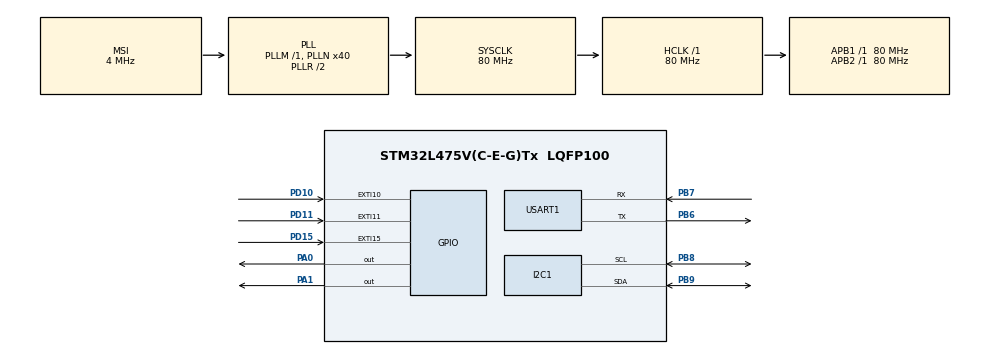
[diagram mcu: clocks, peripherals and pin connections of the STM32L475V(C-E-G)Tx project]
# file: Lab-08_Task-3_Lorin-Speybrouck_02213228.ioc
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I2C1.Timing=0x10909CEC
Mcu.Family=STM32L4
Mcu.Name=STM32L475V(C-E-G)Tx
Mcu.Package=LQFP100
NVIC.PriorityGroup=NVIC_PRIORITYGROUP_4
PA0.Signal=GPIO_Output
PA1.Signal=GPIO_Output
PB6.Mode=Asynchronous
PB6.Signal=USART1_TX
PB7.Mode=Asynchronous
PB7.Signal=USART1_RX
PB8.Mode=I2C
PB8.Signal=I2C1_SCL
PB9.Mode=I2C
PB9.Signal=I2C1_SDA
PD10.Signal=GPXTI10
PD11.Signal=GPXTI11
PD15.Signal=GPXTI15
ProjectManager.HeapSize=0x200
ProjectManager.StackSize=0x400
ProjectManager.TargetToolchain=STM32CubeIDE
RCC.ADCFreq_Value=48000000
RCC.AHBFreq_Value=80000000
RCC.APB1Freq_Value=80000000
RCC.APB1TimFreq_Value=80000000
RCC.APB2Freq_Value=80000000
RCC.APB2TimFreq_Value=80000000
RCC.CortexFreq_Value=80000000
RCC.HCLKFreq_Value=80000000
RCC.HSE_VALUE=8000000
RCC.HSI_VALUE=16000000
RCC.LSE_VALUE=32768
RCC.MSI_VALUE=4000000
RCC.PLLN=40
RCC.PLLSAI1N=24
RCC.SYSCLKFreq_VALUE=80000000
RCC.SYSCLKSource=RCC_SYSCLKSOURCE_PLLCLK
RCC.USBFreq_Value=48000000
RCC.VCOOutputFreq_Value=160000000
USART1.VirtualMode-Asynchronous=VM_ASYNC
board=B-L475E-IOT01A2

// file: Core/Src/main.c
/* USER CODE BEGIN Header */
/**
 ******************************************************************************
 * @file           : main.c
 * @brief          : Main program body
 ******************************************************************************
 * @attention
 *
 * Copyright (c) 2024 STMicroelectronics.
 * All rights reserved.
 *
 * This software is licensed under terms that can be found in the LICENSE file
 * in the root directory of this software component.
 * If no LICENSE file comes with this software, it is provided AS-IS.
 *
 ******************************************************************************
 */
/* USER CODE END Header */
#include "main.h"

/* USER CODE BEGIN Includes */
#include "stdio.h"
#include <math.h>
#include "stm32l475e_iot01.h"
#include "stm32l475e_iot01_tsensor.h"
#include "stm32l475e_iot01_hsensor.h"
#include "stm32l475e_iot01_psensor.h"
#include "stm32l475e_iot01_accelero.h"
/* USER CODE END Includes */

I2C_HandleTypeDef hi2c1;

UART_HandleTypeDef huart1;

void SystemClock_Config(void);
static void MX_GPIO_Init(void);
static void MX_I2C1_Init(void);
static void MX_USART1_UART_Init(void);

/* USER CODE BEGIN 0 */

//-----------------------------------------------------------------------------
// Low-level software I2C communication to PCB unit on serial LCD display
// pvantorre FEB 2021
//
// Connect Open Smart Rich Shield UART pins top right to LCD unit
// GND----GND
// VCC----VCC
//  TX----SCL (can be remembered as TX is always an output and SCL is always an input)
//  RX----SDA
//-----------------------------------------------------------------------------
//
void LCD_Delay(int time); //just a predeclaration

void PCF_SCL(uint8_t level) {
	HAL_GPIO_WritePin(GPIOA, GPIO_PIN_0, level); //TX = SCL
	//HAL_Delay(1);
	LCD_Delay(10);
}

void PCF_SDA(uint8_t level) {
	HAL_GPIO_WritePin(GPIOA, GPIO_PIN_1, level); // RX = SDA
	//HAL_Delay(1);
	LCD_Delay(10);
}

uint8_t PCF_ACK(void) {
	return (HAL_GPIO_ReadPin(GPIOA, GPIO_PIN_1));
}

void I2Cstart(void) {
	PCF_SDA(1);
	PCF_SCL(1); //I2C start condition
	PCF_SDA(0); //high to low data while clk high
	PCF_SCL(0);
}

void I2Cstop(void) {
	//PCF_SDA(0);
	PCF_SCL(1); //I2C stop condition
	PCF_SDA(1); //low to high data while clk high
}

//MSB first for PCF chip!!!
uint8_t I2Cwritebyte(uint8_t databyte) {
	uint8_t ack;
	for (uint8_t n = 0; n <= 7; n++) {
		if ((databyte & 0x80) > 0)
			PCF_SDA(1);
		else
			PCF_SDA(0);
		PCF_SCL(1);
		databyte <<= 1;
		PCF_SCL(0);
		PCF_SDA(1); //zodat ACK kan gelezen worden
	}
	PCF_SCL(1); //9th clk  ACK
	ack = PCF_ACK();
	PCF_SCL(0);
	return (ack);
}

//-----------------------------------------------------------------------------
// LCD_Init   Robust version written by P. Van Torre DEC 2014
//-----------------------------------------------------------------------------
//
// Position of parallel LCD lines in byte output by PCF chip
// from MSB to LSB
// D7 D6 D5 D4 BL E R/W RS
// BL= backlight, active high
//
// Check datasheet of HD44780 LCD controller for more info

//-----------------------------------------------------------------------------
// LCD_Delay
//-----------------------------------------------------------------------------
//
void LCD_Delay(int time) {
	int n, m;
	for (n = 0; n < time; n++) {
		for (m = 0; m < 20; m++)
			;
	}
	//HAL_Delay(time);
}

//-----------------------------------------------------------------------------
// LCD_Clock
//-----------------------------------------------------------------------------
//
void LCD_Clock(char lcddata) {
	I2Cwritebyte((lcddata & 0xf0) | ((lcddata & 0x02) >> 1) | 0x08); //4 bit data + RS line + BL
	LCD_Delay(10);
	I2Cwritebyte((lcddata & 0xf0) | ((lcddata & 0x02) >> 1) | 0x0C); //4 bit data + RS line + BL + EN
	LCD_Delay(10);
	I2Cwritebyte((lcddata & 0xf0) | ((lcddata & 0x02) >> 1) | 0x08); //4 bit data + RS line + BL
	LCD_Delay(10);

}

void LCD_Init(void) {
	//wait a while after power on
	LCD_Delay(2550);

	//go to 8-bit mode no matter what (8 -> 8 / 4 -> 8)
	LCD_Clock(0x30);
	LCD_Delay(2550);
	LCD_Clock(0x30);
	LCD_Delay(250);
	LCD_Clock(0x30);
	LCD_Delay(250);

	//now go to 4-bit mode
	LCD_Clock(0x20);
	LCD_Delay(250);

	//interface definitely in 4-bit mode now, independent of history

	//4-bit 2-line
	LCD_Clock(0x20);
	LCD_Clock(0x80);
	LCD_Delay(250);

	//no shift ; cursor right
	LCD_Clock(0x10);
	LCD_Clock(0x40);
	LCD_Delay(250);

	//display on ; cursor off ; no blinking
	LCD_Clock(0x00);
	LCD_Clock(0xC0);
	LCD_Delay(250);

	//cursor moves right ; no display shift
	LCD_Clock(0x00);
	LCD_Clock(0x60);
	LCD_Delay(250);
}

//-----------------------------------------------------------------------------
// LCD_Busy PVT2014
//-----------------------------------------------------------------------------
//
void LCD_Busy(void) {
	LCD_Delay(1);
	//original busy function can probably not be used with the LCD shield
	//due to R/W line which is always on WRITE ???

}

//-----------------------------------------------------------------------------
// LCD_Send
//-----------------------------------------------------------------------------
//
void LCD_Send(char teken) {
	LCD_Clock((teken & 0xf0) | 2);  // |2 used to set RS=1
	LCD_Clock(((teken & 0x0f) << 4) | 2);
	LCD_Busy(); //wait until LCD ready
}

//-----------------------------------------------------------------------------
// LCD_String pvantorre 2020
//-----------------------------------------------------------------------------
//
void LCD_String(char *text) {
	while (*text != 0)
		LCD_Send(*text++);
}

//-----------------------------------------------------------------------------
// LCD_Clear
//-----------------------------------------------------------------------------
//
void LCD_Clear(void) {
	LCD_Clock(0x00);
	LCD_Clock(0x10);
	LCD_Delay(255);
}

//-----------------------------------------------------------------------------
// LCD_Home
//-----------------------------------------------------------------------------
//
void LCD_Home(void) {
	LCD_Clock(0x00);
	LCD_Clock(0x20);
}

//-----------------------------------------------------------------------------
// LCD_Pos
//-----------------------------------------------------------------------------
//
void LCD_Pos(unsigned char pos) {
	LCD_Clock(0x80 | (pos & 0xf0));
	LCD_Clock(pos << 4);
	LCD_Busy();
}

/* USER CODE END 0 */

int main(void) {

	/* USER CODE BEGIN 1 */
	float getValueFromState(int state) {
		switch (state) {
		case 0:
			return BSP_TSENSOR_ReadTemp();
		case 1:
			return BSP_HSENSOR_ReadHumidity();
		case 2:
			return BSP_PSENSOR_ReadPressure();
		default:
			int16_t XYZ[3];
			BSP_ACCELERO_AccGetXYZ(XYZ);
			return (float) XYZ[state - 2];

		}
	}
	/* USER CODE END 1 */

	/* MCU Configuration--------------------------------------------------------*/

	/* Reset of all peripherals, Initializes the Flash interface and the Systick. */
	HAL_Init();

	/* Configure the system clock */
	SystemClock_Config();

	/* Initialize all configured peripherals */
	MX_GPIO_Init();
	MX_I2C1_Init();
	MX_USART1_UART_Init();
	/* USER CODE BEGIN 2 */
	BSP_TSENSOR_Init(); // HTS221
	BSP_HSENSOR_Init(); // HTS221
	BSP_PSENSOR_Init(); // LPS22HB
	BSP_ACCELERO_Init(); // LSM6DSL
	/* USER CODE END 2 */

	/* Infinite loop */
	/* USER CODE BEGIN WHILE */
	int state = 0;
	char *states[] = { "Temperature", "Humidity", "Pressure", "X", "Y", "Z" };
	while (1) {
		/* USER CODE END WHILE */

		/* USER CODE BEGIN 3 */
		float value = getValueFromState(state);

		char text[200] = "";
		sprintf(text, "State %d| %s: %f.2 \n\r", state, states[state], value);
		HAL_UART_Transmit(&huart1, (uint8_t*) text, sizeof(text), 1000);

		I2Cstart();
		I2Cwritebyte(0x27 << 1);
		LCD_Init();
		LCD_Clear();

		LCD_Pos(0);
		LCD_String(states[state]);
		LCD_Pos(40);
		char LCDText[50] = "";
		sprintf(LCDText, "%.4f", value);
		LCD_String(LCDText);
		I2Cstop();

		HAL_Delay(1000);
		state = (state + 1) % 6;
	}
	/* USER CODE END 3 */
}

void SystemClock_Config(void) {
	RCC_OscInitTypeDef RCC_OscInitStruct = { 0 };
	RCC_ClkInitTypeDef RCC_ClkInitStruct = { 0 };

	/** Configure the main internal regulator output voltage
	 */
	if (HAL_PWREx_ControlVoltageScaling(PWR_REGULATOR_VOLTAGE_SCALE1)
			!= HAL_OK) {
		Error_Handler();
	}

	/** Initializes the RCC Oscillators according to the specified parameters
	 * in the RCC_OscInitTypeDef structure.
	 */
	RCC_OscInitStruct.OscillatorType = RCC_OSCILLATORTYPE_MSI;
	RCC_OscInitStruct.MSIState = RCC_MSI_ON;
	RCC_OscInitStruct.MSICalibrationValue = 0;
	RCC_OscInitStruct.MSIClockRange = RCC_MSIRANGE_6;
	RCC_OscInitStruct.PLL.PLLState = RCC_PLL_ON;
	RCC_OscInitStruct.PLL.PLLSource = RCC_PLLSOURCE_MSI;
	RCC_OscInitStruct.PLL.PLLM = 1;
	RCC_OscInitStruct.PLL.PLLN = 40;
	RCC_OscInitStruct.PLL.PLLP = RCC_PLLP_DIV7;
	RCC_OscInitStruct.PLL.PLLQ = RCC_PLLQ_DIV2;
	RCC_OscInitStruct.PLL.PLLR = RCC_PLLR_DIV2;
	if (HAL_RCC_OscConfig(&RCC_OscInitStruct) != HAL_OK) {
		Error_Handler();
	}

	/** Initializes the CPU, AHB and APB buses clocks
	 */
	RCC_ClkInitStruct.ClockType = RCC_CLOCKTYPE_HCLK | RCC_CLOCKTYPE_SYSCLK
			| RCC_CLOCKTYPE_PCLK1 | RCC_CLOCKTYPE_PCLK2;
	RCC_ClkInitStruct.SYSCLKSource = RCC_SYSCLKSOURCE_PLLCLK;
	RCC_ClkInitStruct.AHBCLKDivider = RCC_SYSCLK_DIV1;
	RCC_ClkInitStruct.APB1CLKDivider = RCC_HCLK_DIV1;
	RCC_ClkInitStruct.APB2CLKDivider = RCC_HCLK_DIV1;

	if (HAL_RCC_ClockConfig(&RCC_ClkInitStruct, FLASH_LATENCY_4) != HAL_OK) {
		Error_Handler();
	}
}

static void MX_I2C1_Init(void) {

	hi2c1.Instance = I2C1;
	hi2c1.Init.Timing = 0x10909CEC;
	hi2c1.Init.OwnAddress1 = 0;
	hi2c1.Init.AddressingMode = I2C_ADDRESSINGMODE_7BIT;
	hi2c1.Init.DualAddressMode = I2C_DUALADDRESS_DISABLE;
	hi2c1.Init.OwnAddress2 = 0;
	hi2c1.Init.OwnAddress2Masks = I2C_OA2_NOMASK;
	hi2c1.Init.GeneralCallMode = I2C_GENERALCALL_DISABLE;
	hi2c1.Init.NoStretchMode = I2C_NOSTRETCH_DISABLE;
	if (HAL_I2C_Init(&hi2c1) != HAL_OK) {
		Error_Handler();
	}

	/** Configure Analogue filter
	 */
	if (HAL_I2CEx_ConfigAnalogFilter(&hi2c1, I2C_ANALOGFILTER_ENABLE)
			!= HAL_OK) {
		Error_Handler();
	}

	/** Configure Digital filter
	 */
	if (HAL_I2CEx_ConfigDigitalFilter(&hi2c1, 0) != HAL_OK) {
		Error_Handler();
	}

}

static void MX_USART1_UART_Init(void) {

	huart1.Instance = USART1;
	huart1.Init.BaudRate = 115200;
	huart1.Init.WordLength = UART_WORDLENGTH_8B;
	huart1.Init.StopBits = UART_STOPBITS_1;
	huart1.Init.Parity = UART_PARITY_NONE;
	huart1.Init.Mode = UART_MODE_TX_RX;
	huart1.Init.HwFlowCtl = UART_HWCONTROL_NONE;
	huart1.Init.OverSampling = UART_OVERSAMPLING_16;
	huart1.Init.OneBitSampling = UART_ONE_BIT_SAMPLE_DISABLE;
	huart1.AdvancedInit.AdvFeatureInit = UART_ADVFEATURE_NO_INIT;
	if (HAL_UART_Init(&huart1) != HAL_OK) {
		Error_Handler();
	}

}

static void MX_GPIO_Init(void) {
	GPIO_InitTypeDef GPIO_InitStruct = { 0 };

	/* GPIO Ports Clock Enable */
	__HAL_RCC_GPIOA_CLK_ENABLE();
	__HAL_RCC_GPIOD_CLK_ENABLE();
	__HAL_RCC_GPIOB_CLK_ENABLE();

	/*Configure GPIO pin Output Level */
	HAL_GPIO_WritePin(GPIOA, GPIO_PIN_0 | GPIO_PIN_1, GPIO_PIN_RESET);

	/*Configure GPIO pins : PA0 PA1 */
	GPIO_InitStruct.Pin = GPIO_PIN_0 | GPIO_PIN_1;
	GPIO_InitStruct.Mode = GPIO_MODE_OUTPUT_PP;
	GPIO_InitStruct.Pull = GPIO_NOPULL;
	GPIO_InitStruct.Speed = GPIO_SPEED_FREQ_LOW;
	HAL_GPIO_Init(GPIOA, &GPIO_InitStruct);

	/*Configure GPIO pins : PD10 PD11 PD15 */
	GPIO_InitStruct.Pin = GPIO_PIN_10 | GPIO_PIN_11 | GPIO_PIN_15;
	GPIO_InitStruct.Mode = GPIO_MODE_IT_RISING;
	GPIO_InitStruct.Pull = GPIO_NOPULL;
	HAL_GPIO_Init(GPIOD, &GPIO_InitStruct);

}

void Error_Handler(void) {
	__disable_irq();
	while (1) {
	}
}
